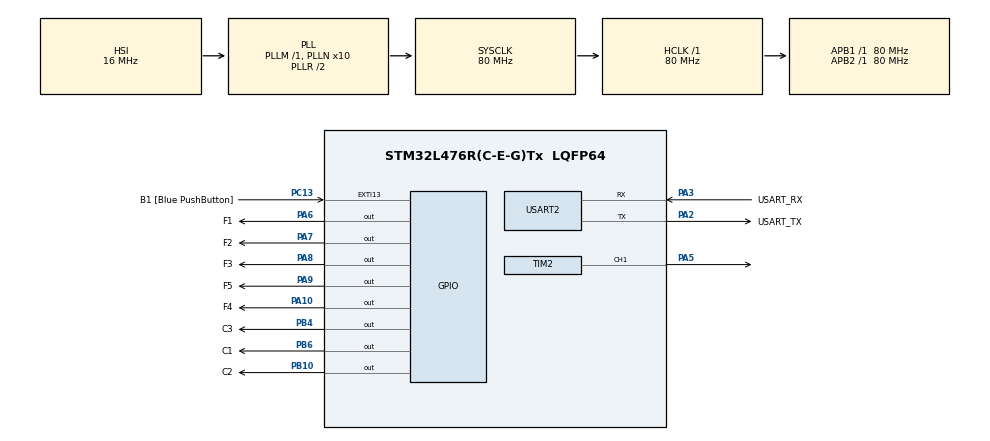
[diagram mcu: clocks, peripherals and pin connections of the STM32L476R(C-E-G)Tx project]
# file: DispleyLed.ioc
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Mcu.Family=STM32L4
Mcu.Name=STM32L476R(C-E-G)Tx
Mcu.Package=LQFP64
NVIC.PriorityGroup=NVIC_PRIORITYGROUP_4
NVIC.TIM2_IRQn=true\:0\:0\:false\:false\:true\:true\:true\:true
PA10.GPIO_Label=F4
PA10.Signal=GPIO_Output
PA13\ (JTMS-SWDIO).GPIO_Label=TMS
PA13\ (JTMS-SWDIO).Mode=Serial_Wire
PA13\ (JTMS-SWDIO).Signal=SYS_JTMS-SWDIO
PA14\ (JTCK-SWCLK).GPIO_Label=TCK
PA14\ (JTCK-SWCLK).Mode=Serial_Wire
PA14\ (JTCK-SWCLK).Signal=SYS_JTCK-SWCLK
PA2.GPIO_Label=USART_TX
PA2.GPIO_Mode=GPIO_MODE_AF_PP
PA2.GPIO_PuPd=GPIO_NOPULL
PA2.GPIO_Speed=GPIO_SPEED_FREQ_VERY_HIGH
PA2.Mode=Asynchronous
PA2.Signal=USART2_TX
PA3.GPIO_Label=USART_RX
PA3.GPIO_Mode=GPIO_MODE_AF_PP
PA3.GPIO_PuPd=GPIO_NOPULL
PA3.GPIO_Speed=GPIO_SPEED_FREQ_VERY_HIGH
PA3.Mode=Asynchronous
PA3.Signal=USART2_RX
PA5.Signal=S_TIM2_CH1
PA6.GPIO_Label=F1
PA6.Signal=GPIO_Output
PA7.GPIO_Label=F2
PA7.Signal=GPIO_Output
PA8.GPIO_Label=F3
PA8.Signal=GPIO_Output
PA9.GPIO_Label=F5
PA9.Signal=GPIO_Output
PB10.GPIO_Label=C2
PB10.Signal=GPIO_Output
PB3\ (JTDO-TRACESWO).GPIO_Label=SWO
PB3\ (JTDO-TRACESWO).Signal=SYS_JTDO-SWO
PB4\ (NJTRST).GPIO_Label=C3
PB4\ (NJTRST).Signal=GPIO_Output
PB6.GPIO_Label=C1
PB6.Signal=GPIO_Output
PC13.GPIO_Label=B1 [Blue PushButton]
PC13.GPIO_ModeDefaultEXTI=GPIO_MODE_IT_FALLING
PC13.GPIO_PuPd=GPIO_NOPULL
PC13.Signal=GPXTI13
PC14-OSC32_IN\ (PC14).Mode=LSE-External-Oscillator
PC14-OSC32_IN\ (PC14).Signal=RCC_OSC32_IN
PC15-OSC32_OUT\ (PC15).Mode=LSE-External-Oscillator
PC15-OSC32_OUT\ (PC15).Signal=RCC_OSC32_OUT
PH0-OSC_IN\ (PH0).Signal=RCC_OSC_IN
PH1-OSC_OUT\ (PH1).Signal=RCC_OSC_OUT
ProjectManager.HeapSize=0x800
ProjectManager.StackSize=0x800
ProjectManager.TargetToolchain=STM32CubeIDE
RCC.ADCFreq_Value=64000000
RCC.AHBFreq_Value=80000000
RCC.APB1Freq_Value=80000000
RCC.APB1TimFreq_Value=80000000
RCC.APB2Freq_Value=80000000
RCC.APB2TimFreq_Value=80000000
RCC.CortexFreq_Value=80000000
RCC.HCLKFreq_Value=80000000
RCC.HSE_VALUE=8000000
RCC.HSI_VALUE=16000000
RCC.MSI_VALUE=4000000
RCC.PLLN=10
RCC.PLLSourceVirtual=RCC_PLLSOURCE_HSI
RCC.PREFETCH_ENABLE=1
RCC.SYSCLKFreq_VALUE=80000000
RCC.SYSCLKSource=RCC_SYSCLKSOURCE_PLLCLK
RCC.USBFreq_Value=64000000
RCC.VCOOutputFreq_Value=160000000
SH.S_TIM2_CH1.0=TIM2_CH1,PWM Generation1 CH1
STMicroelectronics.X-CUBE-AI.10.0.0.ActivationBufferSizeList=1940
STMicroelectronics.X-CUBE-AI.10.0.0.ActivationBuffers=pool0
STMicroelectronics.X-CUBE-AI.10.0.0.ActivationNames=pool0
STMicroelectronics.X-CUBE-AI.10.0.0.ActivationSizes=AI_SINE_MODEL_DATA_ACTIVATION_1_SIZE
STMicroelectronics.X-CUBE-AI.10.0.0.HeapSize=0x800
STMicroelectronics.X-CUBE-AI.10.0.0.InternalRamActivationBufferMaxSize=AI_SINE_MODEL_DATA_ACTIVATIONS_SIZE
STMicroelectronics.X-CUBE-AI.10.0.0.LatestDirectoryUsed-eca3ab91111a0d054e943d10666044f262dfd371c2a4eea72dafeac2a9494fa8=C\:\\Users\\seba-\\Documents\\KWS
STMicroelectronics.X-CUBE-AI.10.0.0.MaximumNumberOfInputLayer=1
STMicroelectronics.X-CUBE-AI.10.0.0.MaximumNumberOfOutputLayer=1
STMicroelectronics.X-CUBE-AI.10.0.0.MaximumSizeOfInputLayer=1
STMicroelectronics.X-CUBE-AI.10.0.0.MaximumSizeOfOutputLayer=1
STMicroelectronics.X-CUBE-AI.10.0.0.ModelActualCompression-eca3ab91111a0d054e943d10666044f262dfd371c2a4eea72dafeac2a9494fa8=0.0
STMicroelectronics.X-CUBE-AI.10.0.0.ModelCompression-eca3ab91111a0d054e943d10666044f262dfd371c2a4eea72dafeac2a9494fa8=None
STMicroelectronics.X-CUBE-AI.10.0.0.ModelFlashOccupation-eca3ab91111a0d054e943d10666044f262dfd371c2a4eea72dafeac2a9494fa8=10130
STMicroelectronics.X-CUBE-AI.10.0.0.ModelHashList=eca3ab91111a0d054e943d10666044f262dfd371c2a4eea72dafeac2a9494fa8
STMicroelectronics.X-CUBE-AI.10.0.0.ModelKind-eca3ab91111a0d054e943d10666044f262dfd371c2a4eea72dafeac2a9494fa8=TFLITE
STMicroelectronics.X-CUBE-AI.10.0.0.ModelMacc-eca3ab91111a0d054e943d10666044f262dfd371c2a4eea72dafeac2a9494fa8=353
STMicroelectronics.X-CUBE-AI.10.0.0.ModelName-eca3ab91111a0d054e943d10666044f262dfd371c2a4eea72dafeac2a9494fa8=sine_model
STMicroelectronics.X-CUBE-AI.10.0.0.ModelNameList=sine_model
STMicroelectronics.X-CUBE-AI.10.0.0.ModelRamOccupation-eca3ab91111a0d054e943d10666044f262dfd371c2a4eea72dafeac2a9494fa8=1940
STMicroelectronics.X-CUBE-AI.10.0.0.ModelStructureFile-eca3ab91111a0d054e943d10666044f262dfd371c2a4eea72dafeac2a9494fa8=C\:\\Users\\seba-\\Documents\\KWS\\sinewave_model.tflite
STMicroelectronics.X-CUBE-AI.10.0.0.ModelType-eca3ab91111a0d054e943d10666044f262dfd371c2a4eea72dafeac2a9494fa8=STM32Cube.AI MCU runtime
STMicroelectronics.X-CUBE-AI.10.0.0.ReadyForCodeGeneration=true
STMicroelectronics.X-CUBE-AI.10.0.0.StackSize=0x800
STMicroelectronics.X-CUBE-AI.10.0.0.WorkingBufferStartAddrList=0xFFFFFFFF
STMicroelectronics.X-CUBE-AI.10.0.0.XAaCUBEAaAICcArtificialOoIntelligenceJjCore=true
STMicroelectronics.X-CUBE-AI.10.0.0.copyWeightToRam=false
STMicroelectronics.X-CUBE-AI.10.0.0.copyWeightToRam-eca3ab91111a0d054e943d10666044f262dfd371c2a4eea72dafeac2a9494fa8=false
STMicroelectronics.X-CUBE-AI.10.0.0.customLayerConfigEnabled=false
STMicroelectronics.X-CUBE-AI.10.0.0.customLayerConfigEnabled-eca3ab91111a0d054e943d10666044f262dfd371c2a4eea72dafeac2a9494fa8=false
STMicroelectronics.X-CUBE-AI.10.0.0.noOnnxIoTranspose=false
STMicroelectronics.X-CUBE-AI.10.0.0.noOnnxIoTranspose-eca3ab91111a0d054e943d10666044f262dfd371c2a4eea72dafeac2a9494fa8=false
STMicroelectronics.X-CUBE-AI.10.0.0.useInputAllocation=true
STMicroelectronics.X-CUBE-AI.10.0.0.useInputAllocation-eca3ab91111a0d054e943d10666044f262dfd371c2a4eea72dafeac2a9494fa8=true
STMicroelectronics.X-CUBE-AI.10.0.0.useOutputAllocation=true
STMicroelectronics.X-CUBE-AI.10.0.0.useOutputAllocation-eca3ab91111a0d054e943d10666044f262dfd371c2a4eea72dafeac2a9494fa8=true
TIM2.Channel-PWM\ Generation1\ CH1=TIM_CHANNEL_1
TIM2.Period=255
USART2.VirtualMode-Asynchronous=VM_ASYNC
VP_STMicroelectronics.X-CUBE-AI_VS_ArtificialOoIntelligenceJjXAaCUBEAaAI_10.0.0.Mode=ArtificialOoIntelligenceJjXAaCUBEAaAI
board=NUCLEO-L476RG

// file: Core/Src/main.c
/* USER CODE BEGIN Header */
/**
  ******************************************************************************
  * @file           : main.c
  * @brief          : Main program body
  ******************************************************************************
  * @attention
  *
  * Copyright (c) 2025 STMicroelectronics.
  * All rights reserved.
  *
  * This software is licensed under terms that can be found in the LICENSE file
  * in the root directory of this software component.
  * If no LICENSE file comes with this software, it is provided AS-IS.
  *
  ******************************************************************************
  */
/* USER CODE END Header */
#include "main.h"

/* USER CODE BEGIN Includes */
#include "sine_model.h"
#include "sine_model_data.h"
#include "sine_model_data_params.h"
#include "ai_platform.h"
#include "stdio.h"
#include "string.h"
/* USER CODE END Includes */

TIM_HandleTypeDef htim2;
UART_HandleTypeDef huart2;

void SystemClock_Config(void);
static void MX_GPIO_Init(void);
static void MX_USART2_UART_Init(void);
static void MX_TIM2_Init(void);

/* USER CODE BEGIN 0 */

int mapPWM(float y_value) {
	if (y_value < -1.0f) y_value = -1.0f;
	if (y_value > 1.0f) y_value = 1.0f;
	return (int)((y_value + 1.0f) * 127.5f); // -1a1 to 0a255
}

/* USER CODE END 0 */

int main(void)
{

  /* USER CODE BEGIN 1 */
	static ai_handle network = AI_HANDLE_NULL;
	ai_buffer ai_input[AI_SINE_MODEL_IN_NUM];
	ai_buffer ai_output[AI_SINE_MODEL_OUT_NUM];

	ai_float x_val = 0.0f;
	const float x_step = 0.1f;
	const float x_max = 6.28f; // 2*pi

	ai_float y_val;
	//float y;
  /* USER CODE END 1 */

  /* MCU Configuration--------------------------------------------------------*/

  /* Reset of all peripherals, Initializes the Flash interface and the Systick. */
  HAL_Init();

  /* Configure the system clock */
  SystemClock_Config();

  /* Initialize all configured peripherals */
  MX_GPIO_Init();
  MX_USART2_UART_Init();
  MX_TIM2_Init();
  /* USER CODE BEGIN 2 */
  HAL_TIM_PWM_Start(&htim2, TIM_CHANNEL_1);

  // Inicializa la red neuronal
  ai_error err;
  // Crea la instancia del modelo
  err = ai_sine_model_create(&network, AI_SINE_MODEL_DATA_CONFIG);
  if (err.type != AI_ERROR_NONE) {
      // Error al crear red
	  char test_msg[] = "error al crear el modelo\r\n";
	  HAL_UART_Transmit(&huart2, (uint8_t*)test_msg, strlen(test_msg), HAL_MAX_DELAY);
      Error_Handler();
  }

  //activations and weights
  AI_ALIGNED(4) ai_u8 activations[AI_SINE_MODEL_DATA_ACTIVATIONS_SIZE];
  const ai_handle weights = ai_sine_model_data_weights_get();

  ai_network_params ai_params = {
      AI_SINE_MODEL_DATA_WEIGHTS(weights),
      AI_SINE_MODEL_DATA_ACTIVATIONS(activations)
  };

  // Inicializa el modelo con los parametros
  if (!ai_sine_model_init(network, &ai_params)) {
	  // notificar error
	  char test_msg[] = "error model init\r\n";
	  HAL_UART_Transmit(&huart2, (uint8_t*)test_msg, strlen(test_msg), HAL_MAX_DELAY);
      Error_Handler();
  }

  // Configuracion de buffers de entrada y salida
  static ai_shape_dimension input_shape_dims[4] = {1, 1, 1, 1};
  static ai_shape_dimension output_shape_dims[4] = {1, 1, 1, 1};

  // Setup input buffer
  ai_input[0].format = AI_BUFFER_FORMAT_FLOAT;
  ai_input[0].data = AI_HANDLE_PTR(&x_val);
  ai_input[0].meta_info = NULL;
  ai_input[0].flags = 0;
  ai_input[0].size = 1;
  ai_input[0].shape = (ai_buffer_shape) {
      .type = 0,
      .size = 4,
      .data = input_shape_dims
  };

  // Setup output buffer
  ai_output[0].format = AI_BUFFER_FORMAT_FLOAT;
  ai_output[0].data = AI_HANDLE_PTR(&y_val);
  ai_output[0].meta_info = NULL;
  ai_output[0].flags = 0;
  ai_output[0].size = 1;
  ai_output[0].shape = (ai_buffer_shape) {
      .type = 0,
      .size = 4,
      .data = output_shape_dims
  };

  /* USER CODE END 2 */

  /* Infinite loop */
  /* USER CODE BEGIN WHILE */
  while (1)
  {
		// 1. ya se inicializó ai_float x_val = 0.0f;

		// 2. Ejecutar la inferencia
		ai_sine_model_run(network, ai_input, ai_output);

		// 3. Lee resultado
		//ya esta el valor en y_val

		// debuggeo de valores de x e y por uart.
		char msg_debug[100];
		snprintf(msg_debug, sizeof(msg_debug), "x_val: %.3f, y_val: %.3f\r\n", x_val, y_val);
		HAL_UART_Transmit(&huart2, (uint8_t*) msg_debug, strlen(msg_debug), HAL_MAX_DELAY);

		// 4. Adaptar la señal para la PWM
		int pwm_val = mapPWM(y_val);

		// debuggeao de valores de la PWM por uart
		char msg_debug2[100];
		snprintf(msg_debug2, sizeof(msg_debug2), "pwm_val: %d\r\n", pwm_val);
		HAL_UART_Transmit(&huart2, (uint8_t*) msg_debug2, strlen(msg_debug2), HAL_MAX_DELAY);

		// 4. Aplicar al LED
		__HAL_TIM_SET_COMPARE(&htim2, TIM_CHANNEL_1, pwm_val);

		// 5. Avanzar el input
		x_val += x_step;
		if (x_val > x_max)
			x_val = 0.0f;

		HAL_Delay(100);

    /* USER CODE END WHILE */

  }
}

void SystemClock_Config(void)
{
  RCC_OscInitTypeDef RCC_OscInitStruct = {0};
  RCC_ClkInitTypeDef RCC_ClkInitStruct = {0};

  /** Configure the main internal regulator output voltage
  */
  if (HAL_PWREx_ControlVoltageScaling(PWR_REGULATOR_VOLTAGE_SCALE1) != HAL_OK)
  {
    Error_Handler();
  }

  /** Initializes the RCC Oscillators according to the specified parameters
  * in the RCC_OscInitTypeDef structure.
  */
  RCC_OscInitStruct.OscillatorType = RCC_OSCILLATORTYPE_HSI;
  RCC_OscInitStruct.HSIState = RCC_HSI_ON;
  RCC_OscInitStruct.HSICalibrationValue = RCC_HSICALIBRATION_DEFAULT;
  RCC_OscInitStruct.PLL.PLLState = RCC_PLL_ON;
  RCC_OscInitStruct.PLL.PLLSource = RCC_PLLSOURCE_HSI;
  RCC_OscInitStruct.PLL.PLLM = 1;
  RCC_OscInitStruct.PLL.PLLN = 10;
  RCC_OscInitStruct.PLL.PLLP = RCC_PLLP_DIV7;
  RCC_OscInitStruct.PLL.PLLQ = RCC_PLLQ_DIV2;
  RCC_OscInitStruct.PLL.PLLR = RCC_PLLR_DIV2;
  if (HAL_RCC_OscConfig(&RCC_OscInitStruct) != HAL_OK)
  {
    Error_Handler();
  }

  /** Initializes the CPU, AHB and APB buses clocks
  */
  RCC_ClkInitStruct.ClockType = RCC_CLOCKTYPE_HCLK|RCC_CLOCKTYPE_SYSCLK
                              |RCC_CLOCKTYPE_PCLK1|RCC_CLOCKTYPE_PCLK2;
  RCC_ClkInitStruct.SYSCLKSource = RCC_SYSCLKSOURCE_PLLCLK;
  RCC_ClkInitStruct.AHBCLKDivider = RCC_SYSCLK_DIV1;
  RCC_ClkInitStruct.APB1CLKDivider = RCC_HCLK_DIV1;
  RCC_ClkInitStruct.APB2CLKDivider = RCC_HCLK_DIV1;

  if (HAL_RCC_ClockConfig(&RCC_ClkInitStruct, FLASH_LATENCY_4) != HAL_OK)
  {
    Error_Handler();
  }
}

static void MX_TIM2_Init(void)
{

  TIM_MasterConfigTypeDef sMasterConfig = {0};
  TIM_OC_InitTypeDef sConfigOC = {0};

  htim2.Instance = TIM2;
  htim2.Init.Prescaler = 0;
  htim2.Init.CounterMode = TIM_COUNTERMODE_UP;
  htim2.Init.Period = 255;
  htim2.Init.ClockDivision = TIM_CLOCKDIVISION_DIV1;
  htim2.Init.AutoReloadPreload = TIM_AUTORELOAD_PRELOAD_DISABLE;
  if (HAL_TIM_PWM_Init(&htim2) != HAL_OK)
  {
    Error_Handler();
  }
  sMasterConfig.MasterOutputTrigger = TIM_TRGO_RESET;
  sMasterConfig.MasterSlaveMode = TIM_MASTERSLAVEMODE_DISABLE;
  if (HAL_TIMEx_MasterConfigSynchronization(&htim2, &sMasterConfig) != HAL_OK)
  {
    Error_Handler();
  }
  sConfigOC.OCMode = TIM_OCMODE_PWM1;
  sConfigOC.Pulse = 0;
  sConfigOC.OCPolarity = TIM_OCPOLARITY_HIGH;
  sConfigOC.OCFastMode = TIM_OCFAST_DISABLE;
  if (HAL_TIM_PWM_ConfigChannel(&htim2, &sConfigOC, TIM_CHANNEL_1) != HAL_OK)
  {
    Error_Handler();
  }
  HAL_TIM_MspPostInit(&htim2);

}

static void MX_USART2_UART_Init(void)
{

  huart2.Instance = USART2;
  huart2.Init.BaudRate = 115200;
  huart2.Init.WordLength = UART_WORDLENGTH_8B;
  huart2.Init.StopBits = UART_STOPBITS_1;
  huart2.Init.Parity = UART_PARITY_NONE;
  huart2.Init.Mode = UART_MODE_TX_RX;
  huart2.Init.HwFlowCtl = UART_HWCONTROL_NONE;
  huart2.Init.OverSampling = UART_OVERSAMPLING_16;
  huart2.Init.OneBitSampling = UART_ONE_BIT_SAMPLE_DISABLE;
  huart2.AdvancedInit.AdvFeatureInit = UART_ADVFEATURE_NO_INIT;
  if (HAL_UART_Init(&huart2) != HAL_OK)
  {
    Error_Handler();
  }

}

static void MX_GPIO_Init(void)
{
  GPIO_InitTypeDef GPIO_InitStruct = {0};

  /* GPIO Ports Clock Enable */
  __HAL_RCC_GPIOC_CLK_ENABLE();
  __HAL_RCC_GPIOH_CLK_ENABLE();
  __HAL_RCC_GPIOA_CLK_ENABLE();
  __HAL_RCC_GPIOB_CLK_ENABLE();

  /*Configure GPIO pin Output Level */
  HAL_GPIO_WritePin(GPIOA, F1_Pin|F2_Pin|F3_Pin|F5_Pin
                          |F4_Pin, GPIO_PIN_RESET);

  /*Configure GPIO pin Output Level */
  HAL_GPIO_WritePin(GPIOB, C2_Pin|C3_Pin|C1_Pin, GPIO_PIN_RESET);

  /*Configure GPIO pin : B1_Pin */
  GPIO_InitStruct.Pin = B1_Pin;
  GPIO_InitStruct.Mode = GPIO_MODE_IT_FALLING;
  GPIO_InitStruct.Pull = GPIO_NOPULL;
  HAL_GPIO_Init(B1_GPIO_Port, &GPIO_InitStruct);

  /*Configure GPIO pins : F1_Pin F2_Pin F3_Pin F5_Pin
                           F4_Pin */
  GPIO_InitStruct.Pin = F1_Pin|F2_Pin|F3_Pin|F5_Pin
                          |F4_Pin;
  GPIO_InitStruct.Mode = GPIO_MODE_OUTPUT_PP;
  GPIO_InitStruct.Pull = GPIO_NOPULL;
  GPIO_InitStruct.Speed = GPIO_SPEED_FREQ_LOW;
  HAL_GPIO_Init(GPIOA, &GPIO_InitStruct);

  /*Configure GPIO pins : C2_Pin C3_Pin C1_Pin */
  GPIO_InitStruct.Pin = C2_Pin|C3_Pin|C1_Pin;
  GPIO_InitStruct.Mode = GPIO_MODE_OUTPUT_PP;
  GPIO_InitStruct.Pull = GPIO_NOPULL;
  GPIO_InitStruct.Speed = GPIO_SPEED_FREQ_LOW;
  HAL_GPIO_Init(GPIOB, &GPIO_InitStruct);

}

void Error_Handler(void)
{
  __disable_irq();
  while (1)
  {
  }
}
